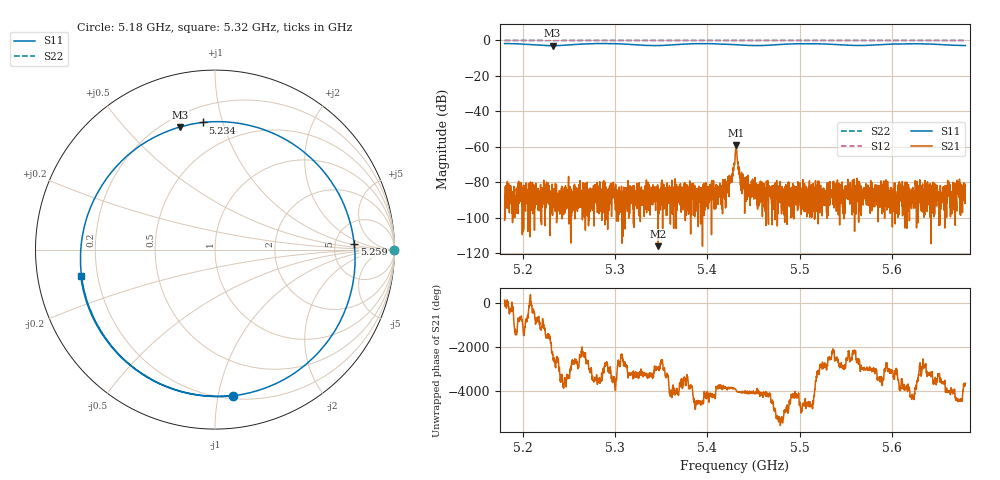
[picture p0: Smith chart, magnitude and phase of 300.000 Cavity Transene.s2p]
# HZ S DB R 50
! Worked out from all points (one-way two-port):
!   2500 points, 5.18 GHz to 5.68 GHz, reference 50 ohm
!   highest |S21| = -58.88 dB at 5.431 GHz (marker M1); lowest = -115.9 dB at 5.347 GHz (marker M2)
!   lowest |S11| = -3.0 dB at 5.232 GHz (marker M3), VSWR 5.90, Z = 13.1 + j36 ohm
!   |S11| at or under -10 dB: nowhere
!   |S22| runs from 0.0 to 0.0 dB; largest |S21 - S12| = 1
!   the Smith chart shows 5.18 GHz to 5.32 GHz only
!   S11 on the Smith chart (normalised r, x): 5.18 GHz: 0.22, -1.11; 5.234 GHz: 0.30, +0.86; 5.259 GHz: 7.77, +1.15; 5.32 GHz: 0.14, -0.10
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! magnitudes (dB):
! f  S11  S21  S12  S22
! 5.18 GHz  -1.7  -101.4  0.0  0.0
! 5.232 GHz  -3.0  -98.7  0.0  0.0
! 5.234 GHz  -3.0  -92.9  0.0  0.0
! 5.259 GHz  -2.2  -91.1  0.0  0.0
! 5.263 GHz  -2.0  -90.5  0.0  0.0
! 5.32 GHz  -2.4  -85.4  0.0  0.0
! 5.347 GHz  -2.9  -115.9  0.0  0.0
! 5.42 GHz  -2.1  -82.3  0.0  0.0
! 5.424 GHz  -2.2  -81.0  0.0  0.0
! 5.426 GHz  -2.3  -79.9  0.0  0.0
! 5.428 GHz  -2.3  -75.0  0.0  0.0
! 5.429 GHz  -2.3  -69.0  0.0  0.0
! 5.43 GHz  -2.4  -66.3  0.0  0.0
! 5.431 GHz  -2.5  -58.9  0.0  0.0
! 5.433 GHz  -2.5  -68.5  0.0  0.0
! 5.435 GHz  -2.5  -75.5  0.0  0.0
! 5.436 GHz  -2.6  -81.6  0.0  0.0
! 5.44 GHz  -2.7  -83.1  0.0  0.0
! 5.514 GHz  -1.8  -87.8  0.0  0.0
! 5.564 GHz  -2.9  -83.4  0.0  0.0
! 5.597 GHz  -2.1  -86.5  0.0  0.0
! 5.68 GHz  -2.9  -81.9  0.0  0.0
